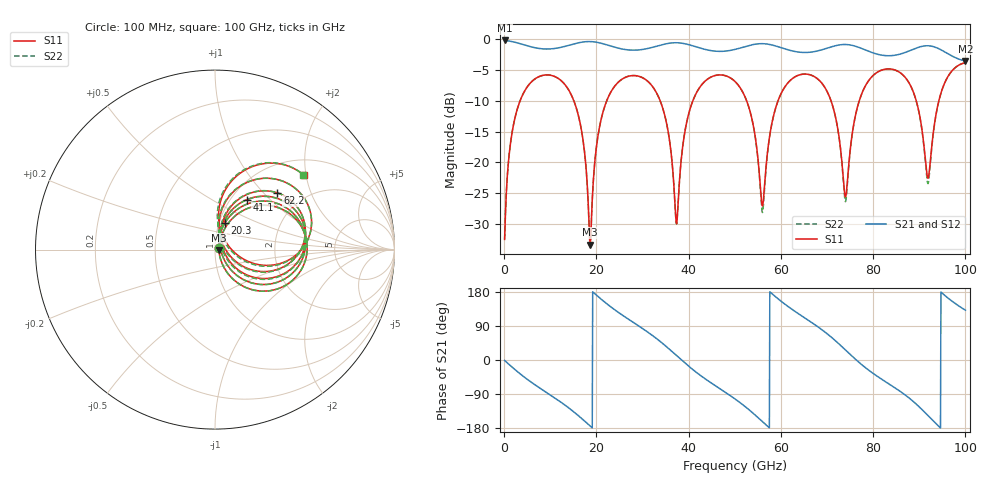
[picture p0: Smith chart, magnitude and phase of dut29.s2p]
! Touchstone file exported from HFSS 2026.1.0
!  File:  C:/ffzhzh/LocalFiles/Ansys_Project_Files/temp_train_TSV_RDL_29_1783440577_50928.aedt
!  Generated:  12:20:55 AM Jul  8, 2026
!  Design:  TSV_RDL
!  Project:  temp_train_TSV_RDL_29_1783440577_50928
! Variables:
!  h_bsmrdl = 2.49um
!  h_ox = 20um
!  h_rdl = 5um
!  h_sub = 77.04um
!  h_tmrdl = 2.17um
!  h_tsv = 77.04um
!  h_via = 3um
!  l_bsmrdl = 573.72um
!  l_sub = 3067.24um
!  l_tmrdl = 207.15um
!  m_sub = 200um
!  pitch = 46.09um
!  r_tsv = 7.53um
!  s_tmrdl = 10um
!  w_bsmrdl = 23.24um
!  w_sub = 500um
!  w_tmrdl = 15.92um
!  x_tsv_center1 = 215.11um
!  x_tsv_center2 = 812.07um
!  x_tsv_center3 = 1035.14um
!  x_tsv_center4 = 1632.1um
!  x_tsv_center5 = 1855.17um
!  x_tsv_center6 = 2452.13um
# GHz S MA R 50.000000
! Terminal data exported
! Port[1] = TM_RDL1_1_T1
! Port[2] = TM_RDL5_1_T1
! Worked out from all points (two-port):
!   1000 points, 100 MHz to 100 GHz, reference 50 ohm
!   highest |S21| = -0.18 dB at 100 MHz (marker M1); lowest = -3.5 dB at 100 GHz (marker M2)
!   |S21| within 3 dB of the highest: start of sweep to 98.46 GHz
!   lowest |S11| = -33.4 dB at 18.6 GHz (marker M3), VSWR 1.04, Z = 52.2 - j0.305 ohm
!   |S11| at or under -10 dB: 15.11 GHz to 22.24 GHz (7.128 GHz wide, 38.2 % of centre); 33.83 GHz to 40.91 GHz (7.084 GHz wide, 19 % of centre); 52.57 GHz to 59.38 GHz (6.804 GHz wide, 12.2 % of centre) (the widest 3 of 6)
!   |S22| runs from -33.6 to -3.8 dB; largest |S21 - S12| = 1.4e-13
!   S11 on the Smith chart (normalised r, x): 100 MHz: 1.04, +0.02; 20.3 GHz: 1.07, +0.33; 41.1 GHz: 1.18, +0.74; 62.2 GHz: 1.48, +1.20; 100 GHz: 1.37, +1.94
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0.1  0.0236 27.5  0.9792 -1.2  0.9792 -1.2  0.0236 27.5
! Gamma 0 0 0 0
! Port Impedance 50 0 50 0
1.9  0.1908 61.4  0.9554 -20.7  0.9554 -20.7  0.1909 61.4
5.5  0.4338 31.6  0.8757 -55.3  0.8757 -55.3  0.4338 31.5
16.8  0.1791 -59.6  0.9478 -154.2  0.9478 -154.2  0.179 -59.9
18.6  0.02144 -7.8  0.9588 -173.6  0.9588 -173.6  0.02079 -8.5
20.3  0.1604 69.5  0.9428 168.2  0.9428 168.2  0.1602 69.6
25.5  0.4726 27.2  0.8356 119.4  0.8356 119.4  0.4725 27.2
33.4  0.3447 -34.2  0.8867 53.1  0.8867 53.1  0.3447 -34.4
37.4  0.03162 15.1  0.9382 11.4  0.9382 11.4  0.03149 15.0
41.1  0.3294 57.7  0.8811 -27.1  0.8811 -27.1  0.3294 57.4
50.1  0.4523 -11.3  0.8289 -103.1  0.8289 -103.1  0.4522 -11.9
56  0.04411 17.8  0.9221 -162.6  0.9221 -162.6  0.03905 17.5
62.2  0.4697 42.2  0.8093 135.5  0.8093 135.5  0.4693 42.4
66.7  0.5089 9.1  0.7886 98.7  0.7886 98.7  0.5088 8.9
71.2  0.2897 -25.0  0.8743 57.5  0.8743 57.5  0.2892 -25.7
74  0.05216 25.2  0.908 26.5  0.908 26.5  0.04783 24.8
77.3  0.3429 71.9  0.8489 -10.0  0.8489 -10.0  0.3421 72.4
83.4  0.575 26.7  0.7355 -62.9  0.7355 -62.9  0.5746 26.6
88.8  0.3659 -12.5  0.8333 -110.5  0.8333 -110.5  0.3648 -13.3
91.9  0.07417 34.1  0.8867 -146.8  0.8867 -146.8  0.06713 34.3
94.9  0.3856 77.0  0.8145 177.2  0.8145 177.2  0.3844 77.9
100  0.6456 39.9  0.6683 131.4  0.6683 131.4  0.6452 40.2
